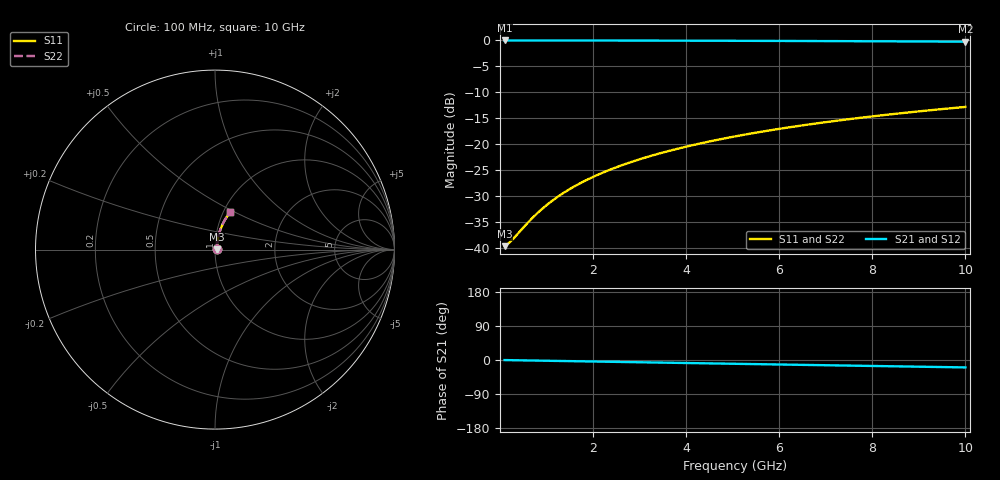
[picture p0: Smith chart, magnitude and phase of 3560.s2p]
# Hz S RI R 50.00
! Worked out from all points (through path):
!   100 points, 100 MHz to 10 GHz, reference 50 ohm
!   highest |S21| = -0.09 dB at 100 MHz (marker M1); lowest = -0.3 dB at 10 GHz (marker M2)
!   group delay of S21, straight-line fit = 5.44 ps
!   lowest |S11| = -39.7 dB at 100 MHz (marker M3), VSWR 1.02, Z = 51 + j0.236 ohm
!   |S11| at or under -10 dB: start of sweep to end of sweep
!   |S22| runs from -39.7 to -12.9 dB; largest |S21 - S12| = 0
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1e8  0.0101 0.00232  0.9899 -0.00344  0.9899 -0.00344  0.0101 0.00232
2e8  0.0102 0.00463  0.9898 -0.00687  0.9898 -0.00687  0.0102 0.00463
3e8  0.0103 0.00695  0.9897 -0.0103  0.9897 -0.0103  0.0103 0.00695
6e8  0.0106 0.0139  0.9894 -0.0206  0.9894 -0.0206  0.0106 0.0139
7e8  0.0107 0.0162  0.9892 -0.024  0.9892 -0.024  0.0107 0.0162
8e8  0.0109 0.0185  0.9891 -0.0275  0.9891 -0.0275  0.0109 0.0185
1e9  0.0112 0.0231  0.9887 -0.0343  0.9887 -0.0343  0.0112 0.0231
1.2e9  0.0116 0.0277  0.9883 -0.0412  0.9883 -0.0412  0.0116 0.0277
1.4e9  0.012 0.0323  0.9878 -0.048  0.9878 -0.048  0.012 0.0323
1.6e9  0.0126 0.0369  0.9873 -0.0548  0.9873 -0.0548  0.0126 0.0369
1.8e9  0.0131 0.0415  0.9866 -0.0617  0.9866 -0.0617  0.0131 0.0415
2.1e9  0.0141 0.0484  0.9856 -0.0719  0.9856 -0.0719  0.0141 0.0484
2.5e9  0.0156 0.0575  0.984 -0.0855  0.984 -0.0855  0.0156 0.0575
2.9e9  0.0174 0.0665  0.9821 -0.099  0.9821 -0.099  0.0174 0.0665
3.4e9  0.0199 0.0777  0.9793 -0.1159  0.9793 -0.1159  0.0199 0.0777
4.2e9  0.0248 0.0955  0.9741 -0.1425  0.9741 -0.1425  0.0248 0.0955
5.1e9  0.0314 0.115  0.9669 -0.1722  0.9669 -0.1722  0.0314 0.115
5.9e9  0.0382 0.1319  0.9595 -0.1981  0.9595 -0.1981  0.0382 0.1319
6.7e9  0.0459 0.1483  0.9512 -0.2235  0.9512 -0.2235  0.0459 0.1483
7.5e9  0.0544 0.1642  0.9419 -0.2484  0.9419 -0.2484  0.0544 0.1642
8.4e9  0.065 0.1814  0.9304 -0.2758  0.9304 -0.2758  0.065 0.1814
1e10  0.086 0.21  0.9075 -0.3225  0.9075 -0.3225  0.086 0.21
